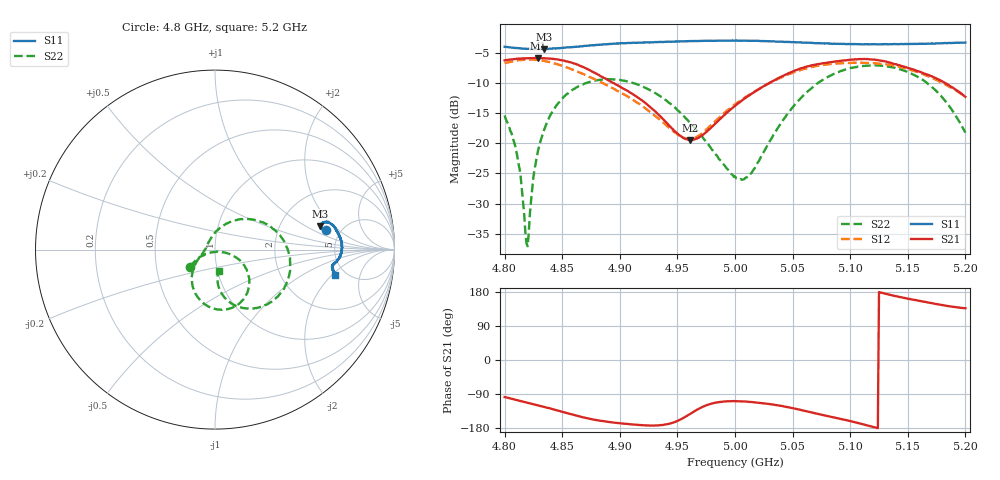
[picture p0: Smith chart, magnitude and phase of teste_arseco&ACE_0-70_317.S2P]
! Network Analyzer HP8722D
! Hewlett-Packard
! Data name: Linha & Wilkinson
! Saver's name: Rodrigo Anjos
! Comments: Teste da utilização de aquisição
! continua pelo VNA HP8722D
! Time and date: 8/5/2025 15:24
!  Frequency  S11  S21  S12  S22
# HZ  S  MA R 50
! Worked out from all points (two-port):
!   401 points, 4.8 GHz to 5.2 GHz, reference 50 ohm
!   highest |S21| = -5.87 dB at 4.829 GHz (marker M1); lowest = -19.5 dB at 4.961 GHz (marker M2)
!   |S21| within 3 dB of the highest: start of sweep to 4.883 GHz; 5.041 GHz to 5.17 GHz (128.6 MHz wide, 2.52 % of centre)
!   lowest |S11| = -4.4 dB at 4.834 GHz (marker M3), VSWR 4.01, Z = 170 + j69.7 ohm
!   |S11| at or under -10 dB: nowhere
!   |S22| runs from -37.1 to -7.1 dB; largest |S21 - S12| = 0.11
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4.8e9  0.6292 9.8  0.4856 -97.9  0.4598 -85.1  0.17 -145.9
4.811e9  0.6148 10.2  0.5015 -106.3  0.4858 -95.2  0.07814 -154.0
4.814e9  0.6097 10.5  0.502 -108.3  0.4881 -98.2  0.0523 -152.6
4.819e9  0.6055 11.1  0.5055 -112.2  0.4931 -103.1  0.01481 -108.0
4.821e9  0.6056 11.4  0.5076 -113.6  0.4924 -105.2  0.01836 -36.7
4.825e9  0.6013 11.7  0.5066 -116.7  0.4931 -109.0  0.05262 -17.1
4.829e9  0.6022 12.4  0.5086 -119.6  0.4888 -112.9  0.08709 -16.8
4.834e9  0.6009 12.6  0.506 -123.6  0.4805 -117.7  0.1267 -20.5
4.847e9  0.6125 13.7  0.4925 -134.0  0.4476 -129.0  0.2171 -34.2
4.867e9  0.6346 14.0  0.4311 -150.5  0.3779 -142.6  0.305 -54.8
4.898e9  0.6687 11.8  0.3024 -166.1  0.2706 -156.8  0.336 -85.1
4.934e9  0.6886 8.2  0.1707 -172.6  0.1596 -159.9  0.2489 -118.9
4.961e9  0.7021 5.5  0.1061 -142.6  0.1087 -131.0  0.148 -141.2
5e9  0.706 0.9  0.2035 -108.7  0.2103 -103.5  0.05312 171.9
5.014e9  0.7054 -1.0  0.2553 -110.8  0.2582 -106.5  0.05642 125.6
5.043e9  0.6891 -4.2  0.3669 -122.8  0.3606 -119.1  0.1619 65.0
5.067e9  0.6776 -6.0  0.4431 -138.7  0.4303 -134.8  0.2885 33.6
5.101e9  0.6632 -7.3  0.4924 -162.0  0.4627 -158.1  0.4212 -6.7
5.134e9  0.6612 -8.4  0.4664 172.5  0.4459 179.3  0.4298 -41.7
5.152e9  0.6629 -9.2  0.4153 160.9  0.4061 166.9  0.3819 -59.5
5.17e9  0.6683 -10.0  0.3597 150.5  0.3504 156.0  0.2974 -75.4
5.2e9  0.6828 -11.8  0.2422 136.6  0.2433 143.3  0.1225 -80.6
